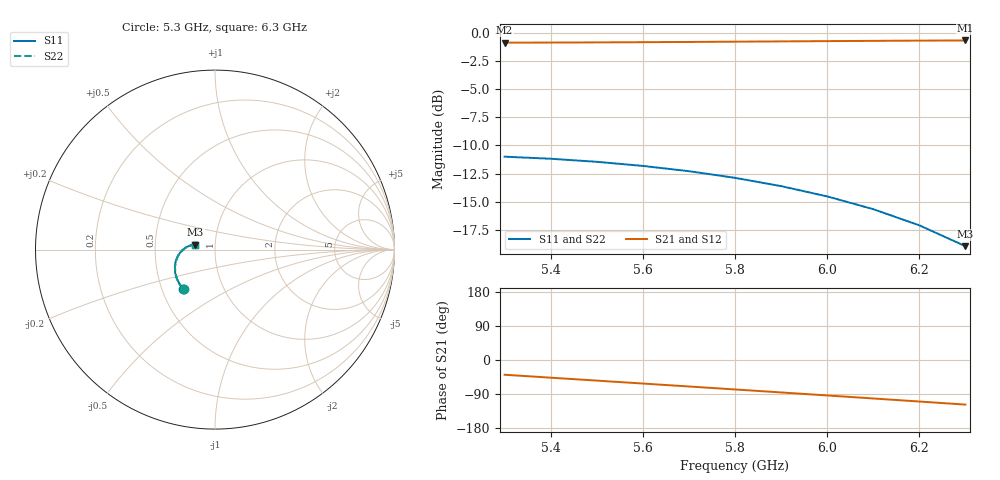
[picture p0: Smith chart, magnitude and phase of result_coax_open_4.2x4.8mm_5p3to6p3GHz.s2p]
! F06: W=4.2, L=4.8 mm; original tapers; L3 intact
! 11 direct frequencies 5.3-6.3 GHz; coax reference planes; connectors included
# Hz S RI R 50
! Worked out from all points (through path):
!   11 points, 5.3 GHz to 6.3 GHz, reference 50 ohm
!   highest |S21| = -0.70 dB at 6.3 GHz (marker M1); lowest = -0.9 dB at 5.3 GHz (marker M2)
!   group delay of S21, straight-line fit = 219 ps
!   lowest |S11| = -18.9 dB at 6.3 GHz (marker M3), VSWR 1.25, Z = 40.1 + j2.26 ohm
!   |S11| at or under -10 dB: start of sweep to end of sweep
!   |S22| runs from -18.9 to -11.0 dB; largest |S21 - S12| = 1e-12
5.3e9  -0.1759 -0.2199  0.7013 -0.5666  0.7013 -0.5666  -0.1735 -0.2218
5.4e9  -0.1978 -0.1921  0.6196 -0.6563  0.6196 -0.6563  -0.1957 -0.1941
5.5e9  -0.2134 -0.1609  0.5267 -0.7349  0.5267 -0.7349  -0.2117 -0.1631
5.6e9  -0.2221 -0.1279  0.4237 -0.8009  0.4237 -0.8009  -0.2208 -0.1301
5.7e9  -0.2238 -0.0944  0.3121 -0.853  0.3121 -0.853  -0.2228 -0.0966
5.8e9  -0.2182 -0.0622  0.1936 -0.8899  0.1936 -0.8899  -0.2176 -0.0643
5.9e9  -0.2059 -0.0328  0.0701 -0.9107  0.0701 -0.9107  -0.2056 -0.0349
6e9  -0.1876 -0.00787  -0.0564 -0.9142  -0.0564 -0.9142  -0.1876 -0.00982
6.1e9  -0.1644 0.0112  -0.1834 -0.8999  -0.1834 -0.8999  -0.1646 0.00944
6.2e9  -0.1378 0.0234  -0.3083 -0.8674  -0.3083 -0.8674  -0.1382 0.0218
6.3e9  -0.1095 0.0278  -0.4284 -0.8166  -0.4284 -0.8166  -0.1101 0.0264
